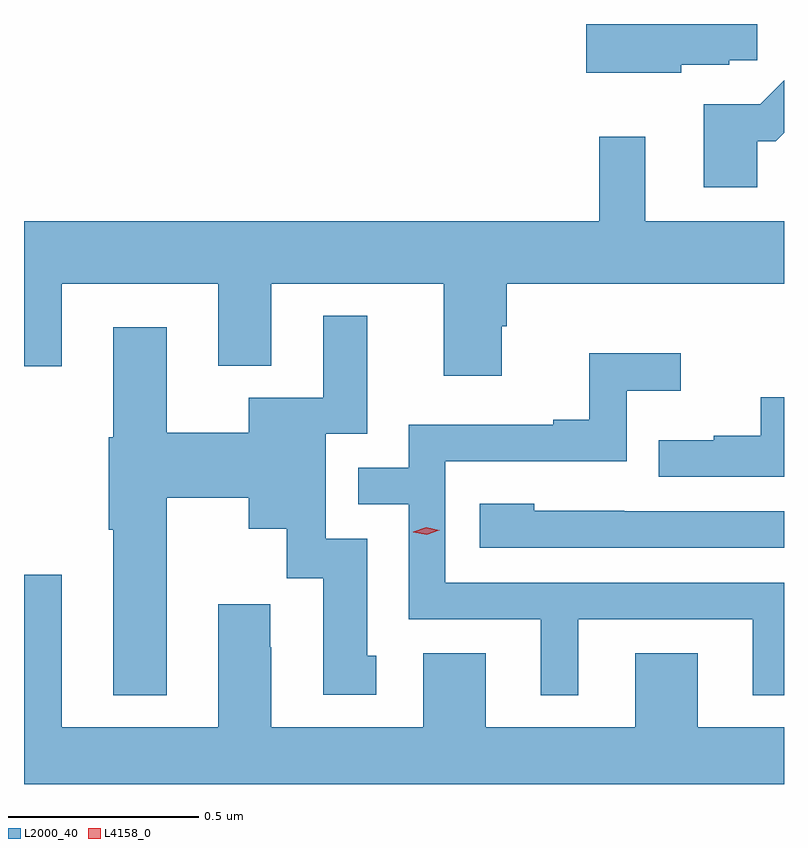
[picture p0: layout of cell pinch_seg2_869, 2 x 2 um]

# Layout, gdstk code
import gdstk
lib = gdstk.Library(unit=1e-6, precision=1e-09)
def P(c, l, *ps):  # polygons
    for p in ps: c.add(gdstk.Polygon(p, *l))
L2000_40 = (2000, 40)
L4158_0 = (4158, 0)

pinch_seg2_869 = lib.new_cell('pinch_seg2_869')
P(pinch_seg2_869, L2000_40, [(805.398,601.592),(805.524,601.592),(805.524,601.603),(805.597,601.603),(805.597,601.699),(805.148,601.699),(805.148,601.571),(805.398,601.571)],
  [(805.597,601.391),(805.646,601.391),(805.668,601.413),(805.668,601.551),(805.605,601.488),(805.457,601.488),(805.457,601.269),(805.597,601.269)],
  [(804.925,600.903),(804.938,600.903),(804.938,601.016),(805.668,601.016),(805.668,601.18),(805.303,601.18),(805.303,601.402),(805.182,601.402),(805.182,601.18),(803.668,601.18),(803.668,600.798),(803.767,600.798),(803.767,601.016),(804.179,601.016),(804.179,600.8),(804.319,600.8),(804.319,601.016),(804.773,601.016),(804.773,600.774),(804.925,600.774)],
  [(804.043,600.452),(804.26,600.452),(804.26,600.371),(804.359,600.371),(804.359,600.24),(804.455,600.24),(804.455,599.934),(804.595,599.934),(804.595,600.036),(804.571,600.036),(804.571,600.345),(804.462,600.345),(804.462,600.621),(804.571,600.621),(804.571,600.931),(804.455,600.931),(804.455,600.715),(804.26,600.715),(804.26,600.624),(804.043,600.624),(804.043,600.901),(803.903,600.901),(803.903,600.612),(803.891,600.612),(803.891,600.368),(803.903,600.368),(803.903,599.933),(804.043,599.933)],
  [(805.126,600.132),(805.586,600.132),(805.586,599.933),(805.668,599.933),(805.668,600.228),(804.777,600.228),(804.777,600.549),(805.254,600.549),(805.254,600.734),(805.396,600.734),(805.396,600.833),(805.156,600.833),(805.156,600.658),(805.061,600.658),(805.061,600.645),(804.681,600.645),(804.681,600.531),(804.548,600.531),(804.548,600.435),(804.681,600.435),(804.681,600.132),(805.028,600.132),(805.028,599.933),(805.126,599.933)],
  [(805.668,600.717),(805.607,600.717),(805.607,600.616),(805.483,600.616),(805.483,600.604),(805.339,600.604),(805.339,600.507),(805.668,600.507)],
  [(805.668,600.417),(805.247,600.417),(805.247,600.418),(805.011,600.418),(805.011,600.436),(804.867,600.436),(804.867,600.321),(805.668,600.321)],
  [(805.668,599.848),(805.441,599.848),(805.441,600.043),(805.277,600.043),(805.277,599.848),(804.883,599.848),(804.883,600.043),(804.719,600.043),(804.719,599.848),(804.319,599.848),(804.319,600.059),(804.316,600.059),(804.316,600.172),(804.179,600.172),(804.179,599.848),(803.767,599.848),(803.767,600.25),(803.668,600.25),(803.668,599.699),(805.668,599.699)])
P(pinch_seg2_869, L4158_0, [(804.728,600.355),(804.692,600.362),(804.692,600.362),(804.692,600.363),(804.726,600.375),(804.761,600.367),(804.762,600.367),(804.761,600.367)])

lib.write_gds('pinch_seg2_869.gds')
